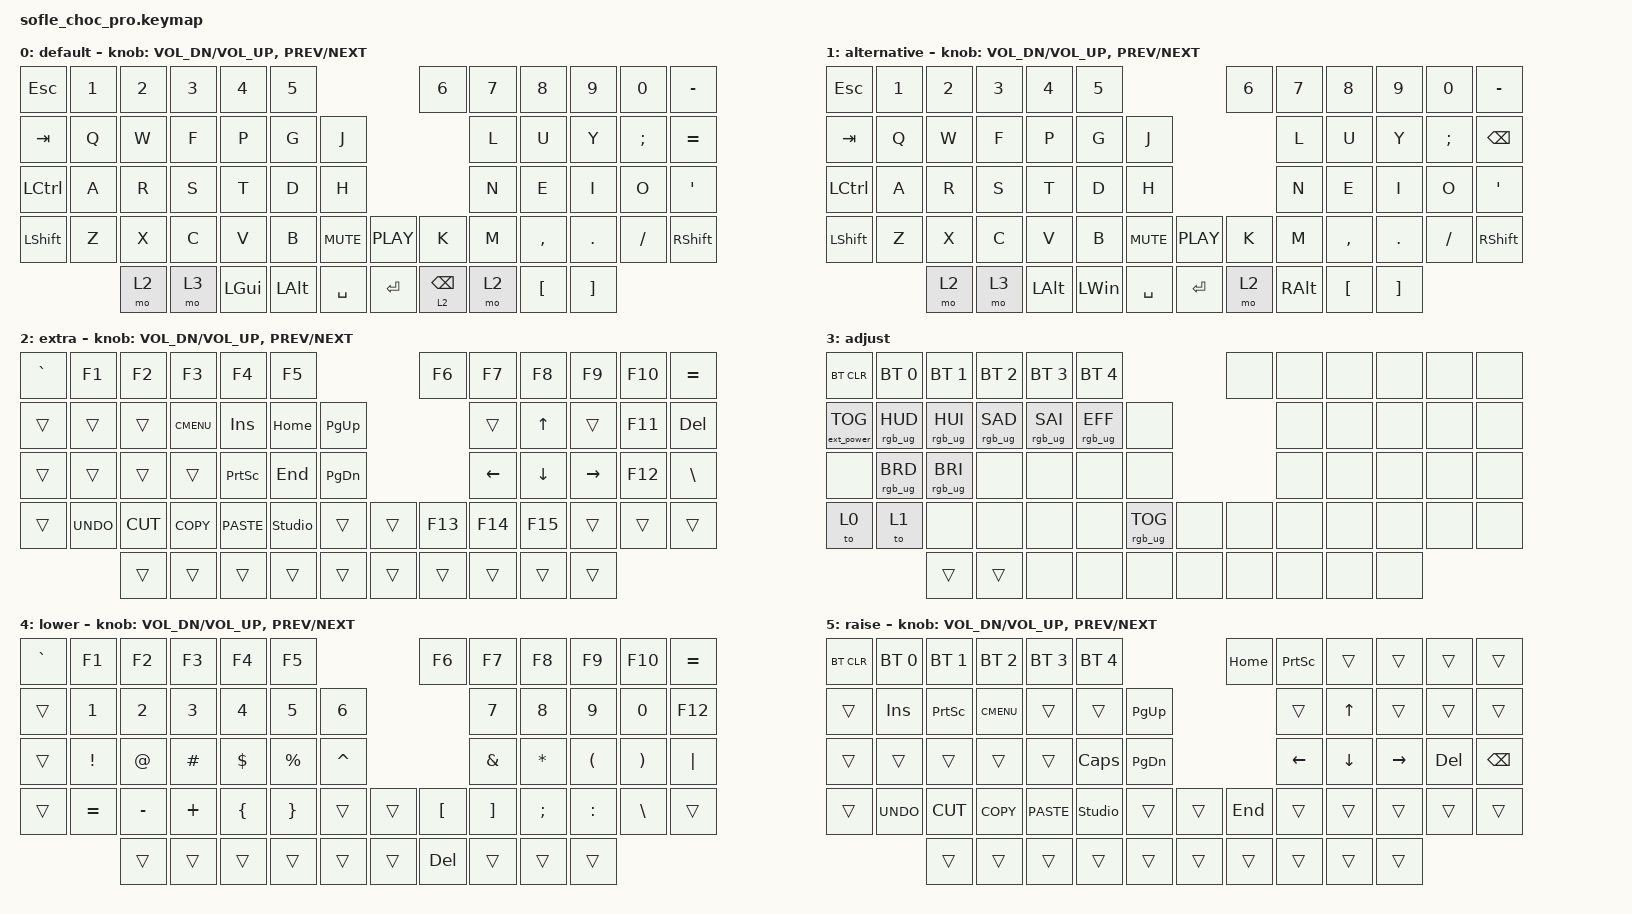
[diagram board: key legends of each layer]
/*
* Copyright (c) 2020 The ZMK Contributors
*
* SPDX-License-Identifier: MIT
*/

#include <behaviors.dtsi>
#include <dt-bindings/zmk/bt.h>
#include <dt-bindings/zmk/ext_power.h>
#include <dt-bindings/zmk/keys.h>
#include <dt-bindings/zmk/rgb.h>

#define BASE 0
#define LOWER 1
#define RAISE 2
#define ADJUST 3

/ {
    // Activate ADJUST layer by pressing raise and lower

    conditional_layers { compatible = "zmk,conditional-layers"; };

    keymap {
        compatible = "zmk,keymap";

        default_layer {
            display-name = "default";

            // ------------------------------------------------------------------------------------------------------------
            // |   `   |  1  |  2  |  3   |  4   |  5   |                   |  6   |  7    |  8    |  9   |   0   |   `   |
            // |  ESC  |  Q  |  W  |  E   |  R   |  T   |                   |  Y   |  U    |  I    |  O   |   P   | BKSPC |
            // |  TAB  |  A  |  S  |  D   |  F   |  G   |                   |  H   |  J    |  K    |  L   |   ;   |   '   |
            // | SHIFT |  Z  |  X  |  C   |  V   |  B   |  MUTE  |  | PLAY  |  N   |  M    |  ,    |  .   |   /   | SHIFT |
            //               | GUI | ALT  | CTRL | LOWER|  ENTER |  | SPACE | RAISE| CTRL  | ALT   | GUI  |

            bindings = <
&kp ESC    &kp N1  &kp N2  &kp N3  &kp N4        &kp N5                                &kp N6           &kp N7  &kp N8            &kp N9             &kp N0         &kp MINUS
&kp TAB    &kp Q   &kp W   &kp F   &kp P         &kp G         &kp J                                    &kp L   &kp U             &kp Y              &kp SEMICOLON  &kp EQUAL
&kp LCTRL  &kp A   &kp R   &kp S   &kp T         &kp D         &kp H                                    &kp N   &kp E             &kp I              &kp O          &kp SQT
&kp LSHFT  &kp Z   &kp X   &kp C   &kp V         &kp B         &kp C_MUTE  &kp C_PLAY  &kp K            &kp M   &kp COMMA         &kp DOT            &kp FSLH       &kp RSHFT
                   &mo 2   &mo 3   &kp LEFT_GUI  &kp LEFT_ALT  &kp SPACE   &kp ENTER   &lt 2 BACKSPACE  &mo 2   &kp LEFT_BRACKET  &kp RIGHT_BRACKET
            >;

            sensor-bindings = <&inc_dec_kp C_VOL_DN C_VOL_UP &inc_dec_kp C_PREV C_NEXT>;
        };

        alternative {
            display-name = "alternative";
            bindings = <
&kp ESC    &kp N1  &kp N2  &kp N3  &kp N4        &kp N5                                &kp N6  &kp N7         &kp N8            &kp N9             &kp N0         &kp MINUS
&kp TAB    &kp Q   &kp W   &kp F   &kp P         &kp G         &kp J                           &kp L          &kp U             &kp Y              &kp SEMICOLON  &kp BACKSPACE
&kp LCTRL  &kp A   &kp R   &kp S   &kp T         &kp D         &kp H                           &kp N          &kp E             &kp I              &kp O          &kp SQT
&kp LSHFT  &kp Z   &kp X   &kp C   &kp V         &kp B         &kp C_MUTE  &kp C_PLAY  &kp K   &kp M          &kp COMMA         &kp DOT            &kp FSLH       &kp RSHFT
                   &mo 2   &mo 3   &kp LEFT_ALT  &kp LEFT_WIN  &kp SPACE   &kp ENTER   &mo 2   &kp RIGHT_ALT  &kp LEFT_BRACKET  &kp RIGHT_BRACKET
            >;

            sensor-bindings =
                <&inc_dec_kp C_VOL_DN C_VOL_UP>,
                <&inc_dec_kp C_PREV C_NEXT>;
        };

        extra_layer {
            display-name = "extra";
            bindings = <
&kp GRAVE  &kp F1      &kp F2     &kp F3       &kp F4           &kp F5                             &kp F6   &kp F7    &kp F8    &kp F9     &kp F10  &kp EQUAL
&trans     &trans      &trans     &kp K_CMENU  &kp INSERT       &kp HOME        &kp PG_UP                   &trans    &kp UP    &trans     &kp F11  &kp DELETE
&trans     &trans      &trans     &trans       &kp PRINTSCREEN  &kp END         &kp PG_DN                   &kp LEFT  &kp DOWN  &kp RIGHT  &kp F12  &kp BACKSLASH
&trans     &kp K_UNDO  &kp K_CUT  &kp K_COPY   &kp K_PASTE      &studio_unlock  &trans     &trans  &kp F13  &kp F14   &kp F15   &trans     &trans   &trans
                       &trans     &trans       &trans           &trans          &trans     &trans  &trans   &trans    &trans    &trans
            >;

            sensor-bindings =
                <&inc_dec_kp C_VOL_DN C_VOL_UP>,
                <&inc_dec_kp C_PREV C_NEXT>;
        };

        adjust_layer {
            // ----------------------------------------------------------------------------------------------------------------------------
            // | BTCLR  |  BT1    |  BT2    |   BT3   |   BT4   |   BT5   |                  |      |      |       |      |       |       |
            // | EXTPWR | RGB_HUD | RGB_HUI | RGB_SAD | RGB_SAI | RGB_EFF |                  |      |      |       |      |       |       |
            // |        | RGB_BRD | RGB_BRI |         |         |         |                  |      |      |       |      |       |       |
            // |        |         |         |         |         |         | RGB_TOG | |      |      |      |       |      |       |       |
            //                    |         |         |         |         |         | |      |      |      |       |      |

            display-name = "adjust";
            bindings = <
&bt BT_CLR         &bt BT_SEL 0     &bt BT_SEL 1     &bt BT_SEL 2     &bt BT_SEL 3     &bt BT_SEL 4                             &none  &none  &none  &none  &none  &none
&ext_power EP_TOG  &rgb_ug RGB_HUD  &rgb_ug RGB_HUI  &rgb_ug RGB_SAD  &rgb_ug RGB_SAI  &rgb_ug RGB_EFF  &none                          &none  &none  &none  &none  &none
&none              &rgb_ug RGB_BRD  &rgb_ug RGB_BRI  &none            &none            &none            &none                          &none  &none  &none  &none  &none
&to 0              &to 1            &none            &none            &none            &none            &rgb_ug RGB_TOG  &none  &none  &none  &none  &none  &none  &none
                                    &trans           &trans           &none            &none            &none            &none  &none  &none  &none  &none
            >;
        };

        lower_layer {
            display-name = "lower";

            // ------------------------------------------------------------------------------------------------------------
            // |       |  F1 |  F2 |  F3  |  F4  |  F5  |                   |  F6  |  F7   |  F8   |  F9  |  F10  |  F11  |
            // |   `   |  1  |  2  |  3   |  4   |  5   |                   |  6   |  7    |  8    |  9   |   0   |  F12  |
            // |       |  !  |  @  |  #   |  $   |  %   |                   |  ^   |  &    |  *    |  (   |   )   |   |   |
            // |       |  =  |  -  |  +   |  {   |  }   |        |  |       |  [   |  ]    |  ;    |  :   |   \   |       |
            //               |     |      |      |      |        |  |       |      |       |       |      |

            bindings = <
&kp GRAVE  &kp F1        &kp F2        &kp F3    &kp F4    &kp F5                        &kp F6      &kp F7    &kp F8     &kp F9     &kp F10   &kp EQUAL
&trans     &kp NUMBER_1  &kp NUMBER_2  &kp N3    &kp N4    &kp N5     &kp N6                         &kp N7    &kp N8     &kp N9     &kp N0    &kp F12
&trans     &kp EXCL      &kp AT        &kp HASH  &kp DLLR  &kp PRCNT  &kp CARET                      &kp AMPS  &kp ASTRK  &kp LPAR   &kp RPAR  &kp PIPE
&trans     &kp EQUAL     &kp MINUS     &kp PLUS  &kp LBRC  &kp RBRC   &trans     &trans  &kp LBKT    &kp RBKT  &kp SEMI   &kp COLON  &kp BSLH  &trans
                         &trans        &trans    &trans    &trans     &trans     &trans  &kp DELETE  &trans    &trans     &trans
            >;

            sensor-bindings = <&inc_dec_kp C_VOL_DN C_VOL_UP &inc_dec_kp C_PREV C_NEXT>;
        };

        raise_layer {
            display-name = "raise";

            // ------------------------------------------------------------------------------------------------------------
            // | BTCLR | BT1  | BT2  |  BT3  |  BT4  |  BT5 |                |      |      |       |      |       |       |
            // |       | INS  | PSCR | GUI   |       |      |                | PGUP |      |   ^   |      |       |       |
            // |       | ALT  | CTRL | SHIFT |       | CAPS |                | PGDN |   <- |   v   |  ->  |  DEL  | BKSPC |
            // |       | UNDO | CUT  | COPY  | PASTE |      |      |  |      |      |      |       |      |       |       |
            //                |      |       |       |      |      |  |      |      |      |       |      |

            bindings = <
&bt BT_CLR  &bt BT_SEL 0  &bt BT_SEL 1  &bt BT_SEL 2  &bt BT_SEL 3  &bt BT_SEL 4                       &kp HOME  &kp PRINTSCREEN  &trans    &trans     &trans   &trans
&trans      &kp INS       &kp PSCRN     &kp K_CMENU   &trans        &trans          &kp PG_UP                    &trans           &kp UP    &trans     &trans   &trans
&trans      &trans        &trans        &trans        &trans        &kp CLCK        &kp PG_DN                    &kp LEFT         &kp DOWN  &kp RIGHT  &kp DEL  &kp BSPC
&trans      &kp K_UNDO    &kp K_CUT     &kp K_COPY    &kp K_PASTE   &studio_unlock  &trans     &trans  &kp END   &trans           &trans    &trans     &trans   &trans
                          &trans        &trans        &trans        &trans          &trans     &trans  &trans    &trans           &trans    &trans
            >;

            sensor-bindings = <&inc_dec_kp C_VOL_DN C_VOL_UP &inc_dec_kp C_PREV C_NEXT>;
        };
    };
};
